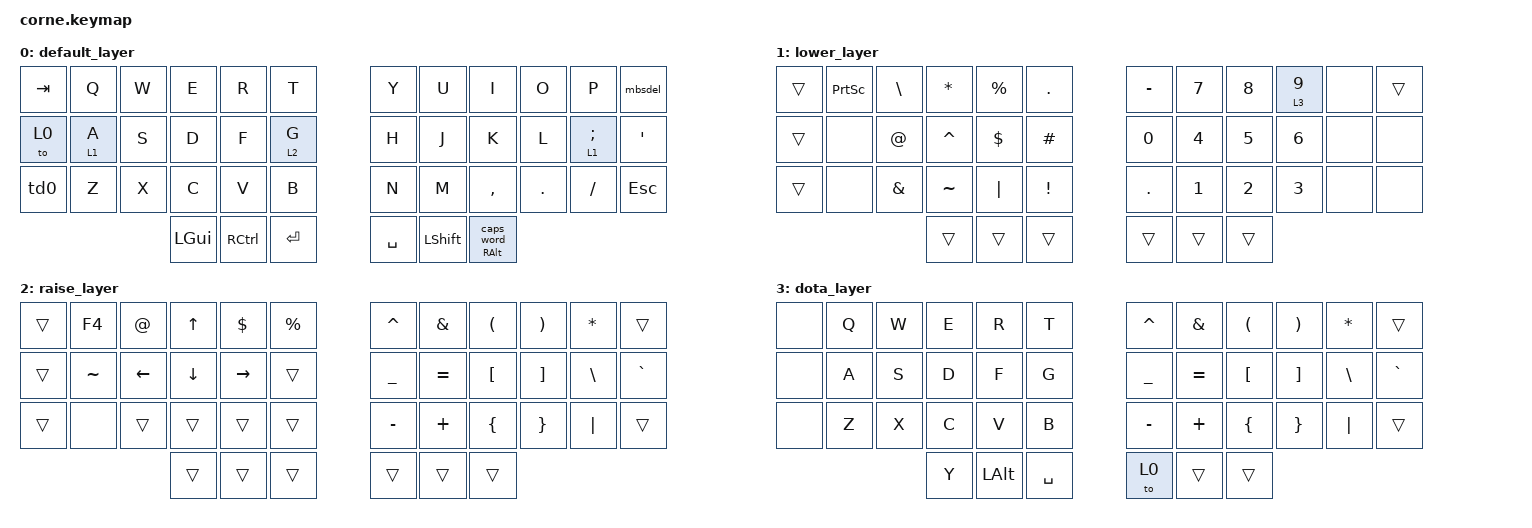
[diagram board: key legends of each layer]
/*
 * Copyright (c) 2020 The ZMK Contributors
 *
 * SPDX-License-Identifier: MIT
 */

#include <behaviors.dtsi>
#include <dt-bindings/zmk/keys.h>
#include <dt-bindings/zmk/bt.h>


&caps_word{
    continue-list=<UNDERSCORE BACKSPACE>;
};
 
/ {
    behaviors {
        td0: tap_dance_0 {
            compatible = "zmk,behavior-tap-dance";
            label = "TAP_DANCE_LAYERS";
            #binding-cells = <0>;
            tapping-term-ms = <300>;
            bindings = <&to 1>, <&to 2>;
        };
        ht0: caps_word_ralt {
            compatible = "zmk,behavior-hold-tap";
            label = "caps_word_ralt";
            #binding-cells = <2>;
            flavor="tap-preferred";
            tapping-term-ms = <200>;
            bindings = <&kp>, <&caps_word>;
        };   
        mbsdel: backsp_del {
            compatible = "zmk,behavior-mod-morph";
            label = "backsp_del";
            #binding-cells = <0>;
            bindings = <&kp BACKSPACE>, <&kp DEL>;
            mods = <(RIGHT_CONTROL|MOD_LALT)>;
        };
    };
        combos {
        compatible = "zmk,combos";
        combo_bt_clr {
            timeout-ms = <50>;
            key-positions = <0 1>;
            bindings = <&bt BT_CLR>;
            require-prior-idle-ms = <100>;
            layers = <1>;
        };
        combo_unlock {
            timeout-ms = <50>;
            key-positions = <1 2>;
            bindings = <&studio_unlock>;
            require-prior-idle-ms = <100>;
            layers = <1>;
        };
        combo_dota {
            timeout-ms = <50>;
            key-positions = <10 11>;
            bindings = <&to 3>;
            require-prior-idle-ms = <100>;
            layers = <1>;
        };
           combo_bt_1 {
            timeout-ms = <50>;
            key-positions = <3 4>;
            bindings = <&bt BT_SEL 0>;
            require-prior-idle-ms = <100>;
            layers = <0 1 2>;
           };     
            combo_bt_2 {
            timeout-ms = <50>;
            key-positions = <7 8>;
            require-prior-idle-ms = <100>;
            bindings = <&bt BT_SEL 1>;
            layers = <0 1 2 >;
           }; 
            combo_bt_3 {
            timeout-ms = <50>;
            key-positions = <5 6>;
            require-prior-idle-ms = <100>;
            bindings = <&bt BT_SEL 2>;
            layers = <0 1 2 >;
           };
            combo_to_3 {
            timeout-ms = <50>;
            key-positions = <37 40>;
            bindings = <&to 3>;
            require-prior-idle-ms = <100>;
            layers = <0 1 2>;
           }; 
            combo_to_0 {
            timeout-ms = <25>;
            key-positions = <38 39>;
            require-prior-idle-ms = <100>;
            bindings = <&to 0>;
            layers = <1 2 3>;
           }; 
            combo_to_4 {
            timeout-ms = <25>;
            key-positions = <1 2 3>;
            bindings = <&to 4>;
            require-prior-idle-ms = <100>;
            layers = <0>;
           }; 
    };
        keymap {
                compatible = "zmk,keymap";

                default_layer {
// -----------------------------------------------------------------------------------------
// |  TAB |  Q  |  W  |  E  |  R  |  T  |   |  Y  |  U   |  I  |  O  |  P  | BKSP |
// | CTRL |  A  |  S  |  D  |  F  |  G  |   |  H  |  J   |  K  |  L  |  ;  |  '   |
// | SHFT |  Z  |  X  |  C  |  V  |  B  |   |  N  |  M   |  ,  |  .  |  /  | ESC  |
//                    | GUI | LWR | SPC |   | ENT | RSE  | ALT |
                        bindings = <
    &kp TAB     &kp Q       &kp W       &kp E       &kp R       &kp T       &kp Y       &kp U       &kp I     &kp O     &kp P       &mbsdel
    &to 0       &lt 1 A     &kp S       &kp D       &kp F       &lt 2 G     &kp H       &kp J       &kp K     &kp L     &lt 1 SEMI  &kp SQT
    &td0        &kp Z       &kp X       &kp C       &kp V       &kp B       &kp N       &kp M       &kp COMMA &kp DOT   &kp FSLH    &kp ESC
                            &kp LGUI    &kp RIGHT_CONTROL   &kp RET     &kp SPACE   &kp LEFT_SHIFT   &ht0 RALT 0
                        >;
                };
                lower_layer {
// -----------------------------------------------------------------------------------------
// |  TAB |  1  |  2  |  3  |  4  |  5  |   |  6  |  7  |  8  |  9  |  0  | BKSP |
// | BTCLR| BT1 | BT2 | BT3 | BT4 | BT5 |   | LFT | DWN |  UP | RGT |     |      |
// | SHFT |     |     |     |     |     |   |     |@q     |     |     |     |      |
//                    | GUI |     | SPC |   | ENT |     | ALT |
                        bindings = <
    &trans      &kp PRINTSCREEN     &kp BSLH        &kp ASTERISK      &kp PERCENT       &kp DOT            &kp MINUS   &kp N7   &kp N8 &lt 3 N9    &none &trans
    &trans      &none               &kp AT          &kp CARET         &kp DOLLAR        &kp HASH           &kp N0      &kp N4   &kp N5 &kp N6      &none &none
    &trans      &none               &kp AMPERSAND   &kp TILDE         &kp PIPE          &kp EXCLAMATION    &kp DOT     &kp N1   &kp N2 &kp N3      &none &none
                                    &trans          &trans            &trans            &trans             &trans      &trans
                        >;
                };

                raise_layer {
// -----------------------------------------------------------------------------------------
// |  TAB |  !  |  @  |  #  |  $  |  %  |   |  ^  |  &  |  (  |  )  |  *  | BKSP |
// | CTRL |     |     |     |     |     |   |  _  |  =  |  [  |  ]  |  \  |  `   |
// | SHFT |     |     |     |     |     |   |  -  |  +  |  {  |  }  | "|" |  ~   |
//                    | GUI |     | SPC |   | ENT |     | ALT |
                        bindings = <
    &trans     &kp F4       &kp AT          &kp UP_ARROW    &kp DLLR            &kp PRCNT   &kp CARET       &kp AMPS  &kp LPAR        &kp RPAR   &kp ASTERISK &trans 
    &trans     &kp TILDE    &kp LEFT_ARROW  &kp DOWN_ARROW  &kp RIGHT_ARROW     &trans      &kp UNDERSCORE  &kp EQUAL &kp LBKT        &kp RBKT   &kp BSLH     &kp GRAVE
    &trans     &none        &trans          &trans          &trans              &trans      &kp MINUS       &kp PLUS  &kp LBRC        &kp RBRC   &kp PIPE     &trans 
                             &trans &trans   &trans   &trans   &trans   &trans
                        >;
                };

                dota_layer {
// -----------------------------------------------------------------------------------------
// |  TAB |  !  |  @  |  #  |  $  |  %  |   |  ^  |  &  |  (  |  )  |  *  | BKSP |
// | CTRL |     |     |     |     |     |   |  _  |  =  |  [  |  ]  |  \  |  `   |
// | SHFT |     |     |     |     |     |   |  -  |  +  |  {  |  }  | "|" |  ~   |
//                    | GUI |     | SPC |   | ENT |     | ALT |
                        bindings = <
    &none     &kp Q       &kp W          &kp E    &kp R     &kp T      &kp CARET       &kp AMPS  &kp LPAR        &kp RPAR   &kp ASTERISK &trans 
    &none     &kp A       &kp S          &kp D    &kp F     &kp G      &kp UNDERSCORE  &kp EQUAL &kp LBKT        &kp RBKT   &kp BSLH     &kp GRAVE
    &none     &kp Z       &kp X          &kp C    &kp V     &kp B      &kp MINUS       &kp PLUS  &kp LBRC        &kp RBRC   &kp PIPE     &trans 
                             &kp Y &kp LEFT_ALT   &kp SPACE   &to 0   &trans   &trans
                        >;
                };
        };
};
